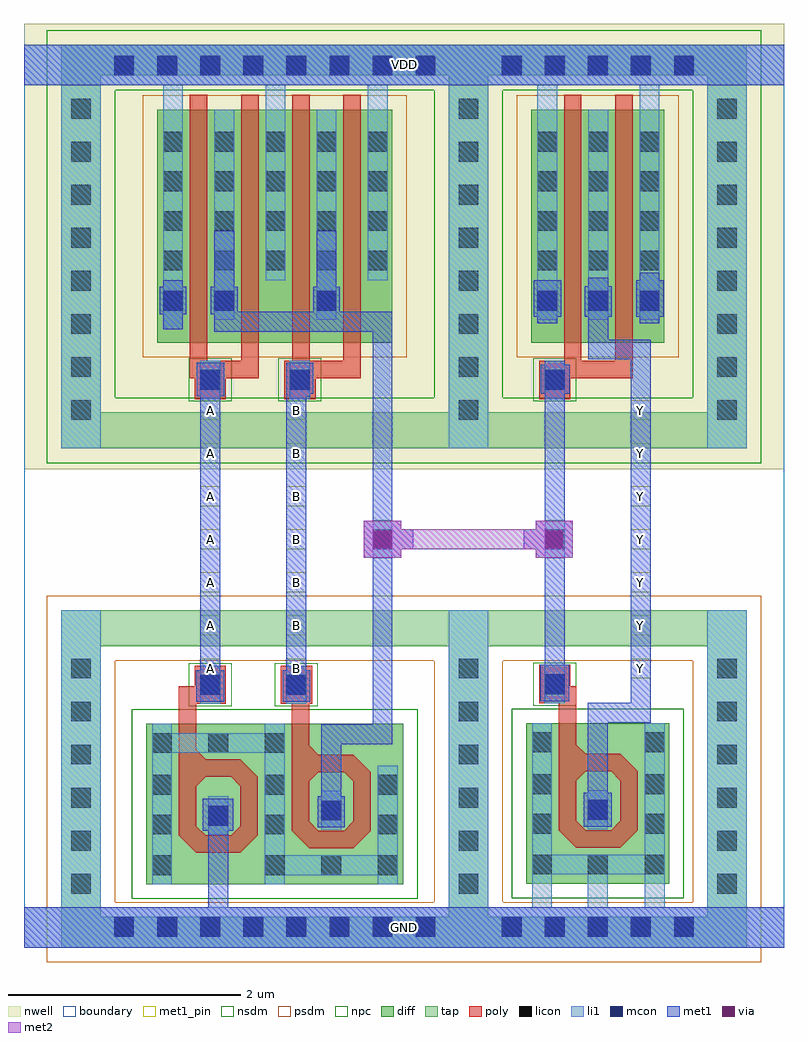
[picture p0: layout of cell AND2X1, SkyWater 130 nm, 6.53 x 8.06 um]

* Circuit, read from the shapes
.subckt AND2X1 A B GND VDD Y
XM1 n1 A GND GND sky130_fd_pr__nfet_01v8 w=2.6 l=0.1468
XM2 n1 B n2 GND sky130_fd_pr__nfet_01v8 w=2.56 l=0.1475
XM3 GND n2 Y GND sky130_fd_pr__nfet_01v8 w=2.56 l=0.1491
XM4 n2 A VDD VDD sky130_fd_pr__pfet_01v8 w=2 l=0.15 m=2
XM5 n2 B VDD VDD sky130_fd_pr__pfet_01v8 w=2 l=0.15 m=2
XM6 Y n2 VDD VDD sky130_fd_pr__pfet_01v8 w=2 l=0.15 m=2
.ends

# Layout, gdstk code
from math import pi, radians
import gdstk
lib = gdstk.Library(unit=1e-6, precision=1e-09)
def R(c, l, rs):  # rectangles x0, y0, x1, y1
    for r in rs: c.add(gdstk.rectangle(r[:2], r[2:], *l))
def A(c, l, x, y, w, h, nx, ny, dx, dy):  # array of equal rectangles
    R(c, l, [(x+i*dx, y+j*dy, x+i*dx+w, y+j*dy+h) for i in range(nx) for j in range(ny)])
def P(c, l, *ps):  # polygons
    for p in ps: c.add(gdstk.Polygon(p, *l))
nwell = (64, 20)
diff = (65, 20)
tap = (65, 44)
poly = (66, 20)
licon = (66, 44)
li1 = (67, 20)
mcon = (67, 44)
met1_pin = (68, 16)
met1 = (68, 20)
via = (68, 44)
met2 = (69, 20)
nsdm = (93, 44)
psdm = (94, 20)
npc = (95, 20)
boundary = (235, 4)

diff_ring_side = lib.new_cell('diff_ring_side')
R(diff_ring_side, nwell, [(-0.435,3.93,0.435,7.75)])
R(diff_ring_side, tap, [(-0.17,-0.17,0.17,2.72), (-0.17,4.11,0.17,7.57)])
A(diff_ring_side, licon, -0.085, 0.285, 0.17, 0.17, 1, 6, 0, 0.37)
A(diff_ring_side, licon, -0.085, 4.355, 0.17, 0.17, 1, 8, 0, 0.37)
R(diff_ring_side, li1, [(-0.17,-0.17,0.17,2.72), (-0.17,4.11,0.17,7.57)])
R(diff_ring_side, met1, [(-0.17,-0.17,0.17,0.17), (-0.17,7.23,0.17,7.57)])
R(diff_ring_side, nsdm, [(-0.295,3.985,0.295,7.695)])
R(diff_ring_side, psdm, [(-0.295,-0.295,0.295,2.845)])

nmos_bottom = lib.new_cell('nmos_bottom')
R(nmos_bottom, diff, [(0,0,1.24,1.38)])
R(nmos_bottom, poly, [(0.43,0.27,0.81,0.42), (0.28,0.42,0.43,0.925), (0.81,0.42,0.96,0.925), (0.43,0.925,0.96,1.075), (0.81,1.075,0.96,1.51)])
P(nmos_bottom, poly, [(0.73,1.075),(0.81,1.075),(0.81,1.155)],
  [(0.28,0.925),(0.43,0.925),(0.43,1.075)],
  [(0.43,0.845),(0.43,0.925),(0.51,0.925)],
  [(0.73,0.925),(0.81,0.925),(0.81,0.845)],
  [(0.43,0.5),(0.43,0.42),(0.51,0.42)],
  [(0.73,0.42),(0.81,0.42),(0.81,0.5)],
  [(0.28,0.42),(0.43,0.42),(0.43,0.27)],
  [(0.81,0.27),(0.81,0.42),(0.96,0.42)])
A(nmos_bottom, licon, 0.05, 1.13, 0.17, 0.17, 3, 1, 0.485, 0)
R(nmos_bottom, licon, [(0.05,0.08,0.22,0.25), (1.02,0.08,1.19,0.25), (0.05,0.43,0.22,0.6), (1.02,0.43,1.19,0.6), (0.535,0.505,0.705,0.675), (0.05,0.77,0.22,0.94), (1.02,0.77,1.19,0.94)])
R(nmos_bottom, li1, [(0.05,0,0.22,1.13), (1.02,0,1.19,1.13), (0.535,0.425,0.705,0.755), (0.05,1.13,1.19,1.3), (0.05,1.3,0.22,1.38), (1.02,1.3,1.19,1.38)])
R(nmos_bottom, nsdm, [(-0.125,-0.125,1.365,1.505)])

pmos2 = lib.new_cell('pmos2')
R(pmos2, nwell, [(0.26,-2.18,1.76,0.18)])
R(pmos2, diff, [(0.44,-2,1.58,0)])
R(pmos2, poly, [(0.72,-2.305,1.31,-2.155), (0.72,-2.155,0.87,0.13), (1.16,-2.155,1.31,0.13)])
A(pmos2, licon, 0.49, -1.38, 0.17, 0.17, 3, 4, 0.44, 0.34)
R(pmos2, li1, [(0.49,-1.465,0.66,0.21), (0.93,-1.465,1.1,0), (1.37,-1.465,1.54,0.21)])
R(pmos2, psdm, [(0.315,-2.125,1.705,0.125)])

poly_li1_contact = lib.new_cell('poly_li1_contact')
R(poly_li1_contact, poly, [(-0.16,-0.14,0.17,0.13)])
R(poly_li1_contact, licon, [(-0.08,-0.09,0.09,0.08)])
R(poly_li1_contact, li1, [(-0.16,-0.09,0.17,0.08)])
R(poly_li1_contact, npc, [(-0.18,-0.19,0.19,0.18)])

nmos_top_trim1 = lib.new_cell('nmos_top_trim1')
R(nmos_top_trim1, diff, [(0,0,1.24,1.38)])
R(nmos_top_trim1, poly, [(0.43,0.31,0.81,0.46), (0.28,0.46,0.43,0.965), (0.81,0.46,0.96,0.965), (0.43,0.965,0.96,1.115), (0.81,1.115,0.96,1.545)])
P(nmos_top_trim1, poly, [(0.73,1.115),(0.81,1.115),(0.81,1.195)],
  [(0.28,0.965),(0.43,0.965),(0.43,1.115)],
  [(0.43,0.885),(0.43,0.965),(0.51,0.965)],
  [(0.73,0.965),(0.81,0.965),(0.81,0.885)],
  [(0.43,0.54),(0.43,0.46),(0.51,0.46)],
  [(0.73,0.46),(0.81,0.46),(0.81,0.54)],
  [(0.28,0.46),(0.43,0.46),(0.43,0.31)],
  [(0.81,0.31),(0.81,0.46),(0.96,0.46)])
A(nmos_top_trim1, licon, 0.05, 0.08, 0.17, 0.17, 3, 1, 0.485, 0)
R(nmos_top_trim1, licon, [(0.05,0.43,0.22,0.6), (1.02,0.43,1.19,0.6), (0.535,0.55,0.705,0.72), (0.05,0.77,0.22,0.94), (1.02,0.77,1.19,0.94), (1.02,1.13,1.19,1.3)])
R(nmos_top_trim1, li1, [(0.05,0,0.22,0.08), (1.02,0,1.19,0.08), (0.05,0.08,1.19,0.25), (0.05,0.25,0.22,1.02), (1.02,0.25,1.19,1.38), (0.535,0.47,0.705,0.805)])
R(nmos_top_trim1, nsdm, [(-0.125,-0.125,1.365,1.505)])

nand2x1_pcell = lib.new_cell('nand2x1_pcell')
R(nand2x1_pcell, nwell, [(0.435,3.93,2.895,7.75)])
R(nand2x1_pcell, diff, [(1.115,5.265,1.345,5.5), (1.995,5.265,2.225,5.5), (0.705,5.295,0.875,5.465)])
R(nand2x1_pcell, tap, [(0.17,-0.17,3.16,-0.15), (0.155,-0.15,3.175,0.085), (0.155,2.4,0.17,2.41), (3.16,2.4,3.175,2.41), (0.155,2.41,3.175,2.71), (0.17,2.71,3.16,2.72), (0.17,4.11,3.16,4.42), (0.17,7.315,3.16,7.57)])
R(nand2x1_pcell, poly, [(0.84,1.875,0.99,2.065), (1.81,1.91,1.96,1.915)])
A(nand2x1_pcell, licon, 0.285, -0.085, 0.17, 0.17, 8, 2, 0.37, 7.4)
R(nand2x1_pcell, licon, [(0.705,5.295,0.875,5.465), (1.145,5.295,1.315,5.465), (2.025,5.295,2.195,5.465)])
R(nand2x1_pcell, li1, [(0.165,-0.17,3.295,0.17), (1.095,0.87,1.265,1.04), (2.065,0.915,2.235,1.085), (1.025,1.995,1.195,2.165), (1.765,1.995,1.935,2.165), (1.025,4.615,1.195,4.785), (1.795,4.615,1.965,4.785), (0.705,5.215,0.875,5.61), (1.145,5.215,1.315,5.61), (2.025,5.215,2.195,5.61), (-0.17,7.23,3.17,7.57)])
A(nand2x1_pcell, mcon, 0.285, -0.085, 0.17, 0.17, 8, 2, 0.37, 7.4)
R(nand2x1_pcell, mcon, [(1.095,0.87,1.265,1.04), (2.065,0.915,2.235,1.085), (1.025,1.995,1.195,2.165), (1.765,1.995,1.935,2.165), (1.025,4.615,1.195,4.785), (1.795,4.615,1.965,4.785), (0.705,5.295,0.875,5.465), (1.145,5.295,1.315,5.465), (2.025,5.295,2.195,5.465)])
R(nand2x1_pcell, met1, [(-0.17,-0.17,3.5,0.17), (1.095,0.17,1.265,0.825), (1.045,0.825,1.31,1.1), (2.035,0.855,2.265,1.12), (2.065,1.12,2.235,1.57), (2.065,1.57,2.675,1.74), (2.505,1.74,2.675,5.115), (0.99,1.935,1.23,2.205), (1.735,1.935,1.97,2.205), (1.025,2.205,1.195,4.56), (1.765,2.205,1.935,4.555), (1.765,4.555,1.97,4.58), (0.995,4.56,1.23,4.845), (1.765,4.58,1.995,4.845), (1.145,5.115,2.675,5.265), (0.705,5.135,0.875,5.265), (0.675,5.265,0.905,5.5), (1.115,5.265,2.675,5.285), (1.115,5.285,1.345,5.5), (1.995,5.285,2.225,5.5), (0.705,5.5,0.875,5.555), (1.145,5.5,1.315,5.98), (2.025,5.5,2.195,5.98), (-0.17,7.23,3.5,7.57)])
R(nand2x1_pcell, nsdm, [(0.045,3.985,3.285,4.545), (0.045,7.19,3.285,7.695)])
R(nand2x1_pcell, psdm, [(0.045,-0.295,3.285,-0.275), (0.03,-0.275,3.3,0.21), (0.03,2.275,0.295,2.285), (3.035,2.275,3.3,2.285), (0.03,2.285,3.3,2.835), (0.045,2.835,3.285,2.845), (0.99,5.14,1.47,5.17), (1.87,5.14,2.35,5.625), (0.58,5.17,1.47,5.59), (0.99,5.59,1.47,5.625)])
nand2x1_pcell.add(gdstk.Reference(diff_ring_side, (0,0)))
nand2x1_pcell.add(gdstk.Reference(nmos_bottom, (1.8,0.365), rotation=pi, x_reflection=True))
nand2x1_pcell.add(gdstk.Reference(pmos2, (0.215,7.02)))
nand2x1_pcell.add(gdstk.Reference(poly_li1_contact, (1.115,4.705), rotation=3*pi/2))
nand2x1_pcell.add(gdstk.Reference(poly_li1_contact, (1.115,2.085), rotation=3*pi/2))
nand2x1_pcell.add(gdstk.Reference(nmos_top_trim1, (2.77,0.365), rotation=pi, x_reflection=True))
nand2x1_pcell.add(gdstk.Reference(pmos2, (1.095,7.02)))
nand2x1_pcell.add(gdstk.Reference(poly_li1_contact, (1.845,2.075), rotation=pi/2))
nand2x1_pcell.add(gdstk.Reference(poly_li1_contact, (1.885,4.705), rotation=3*pi/2))
nand2x1_pcell.add(gdstk.Reference(diff_ring_side, (3.33,0)))

li1_m1_contact = lib.new_cell('li1_M1_contact')
R(li1_m1_contact, li1, [(-0.085,-0.165,0.085,0.165)])
R(li1_m1_contact, mcon, [(-0.085,-0.085,0.085,0.085)])
R(li1_m1_contact, met1, [(-0.115,-0.115,0.115,-0.085), (-0.265,-0.085,0.145,0.085), (-0.115,0.085,0.115,0.115)])

nmos_top = lib.new_cell('nmos_top')
R(nmos_top, diff, [(0,0,1.23,1.38)])
R(nmos_top, poly, [(0.42,0.31,0.8,0.46), (0.27,0.46,0.42,0.965), (0.8,0.46,0.95,0.965), (0.42,0.965,0.95,1.115), (0.8,1.115,0.95,1.54)])
P(nmos_top, poly, [(0.72,1.115),(0.8,1.115),(0.8,1.195)],
  [(0.27,0.965),(0.42,0.965),(0.42,1.115)],
  [(0.42,0.885),(0.42,0.965),(0.5,0.965)],
  [(0.72,0.965),(0.8,0.965),(0.8,0.885)],
  [(0.42,0.54),(0.42,0.46),(0.5,0.46)],
  [(0.72,0.46),(0.8,0.46),(0.8,0.54)],
  [(0.27,0.46),(0.42,0.46),(0.42,0.31)],
  [(0.8,0.31),(0.8,0.46),(0.95,0.46)])
R(nmos_top, licon, [(0.04,0.08,0.21,0.25), (0.53,0.08,0.7,0.25), (1.01,0.08,1.18,0.25), (0.04,0.43,0.21,0.6), (1.01,0.43,1.18,0.6), (0.53,0.55,0.7,0.72), (0.04,0.77,0.21,0.94), (1.01,0.77,1.18,0.94), (0.04,1.13,0.21,1.3), (1.01,1.13,1.18,1.3)])
R(nmos_top, li1, [(0.04,0,0.21,0.08), (1.01,0,1.18,0.08), (0.04,0.08,1.18,0.25), (0.04,0.25,0.21,1.38), (1.01,0.25,1.18,1.38), (0.53,0.47,0.7,0.805)])
R(nmos_top, nsdm, [(-0.125,-0.125,1.355,1.505)])

invx1_pcell = lib.new_cell('invx1_pcell')
R(invx1_pcell, nwell, [(-0.435,3.93,2.655,7.75)])
A(invx1_pcell, diff, 0.59, 5.295, 0.17, 0.17, 3, 1, 0.44, 0)
R(invx1_pcell, tap, [(0.17,-0.17,2.05,0.085), (0.17,2.41,2.05,2.72), (0.17,4.11,2.05,4.42), (0.17,7.315,2.05,7.57)])
R(invx1_pcell, poly, [(0.775,1.905,0.925,2.065)])
A(invx1_pcell, licon, 0.285, -0.085, 0.17, 0.17, 5, 2, 0.37, 7.4)
A(invx1_pcell, licon, 0.59, 5.295, 0.17, 0.17, 3, 1, 0.44, 0)
A(invx1_pcell, li1, 0.59, 5.215, 0.17, 0.37, 3, 1, 0.44, 0)
R(invx1_pcell, li1, [(-0.17,-0.17,2.33,0.17), (0.545,0.17,0.715,0.42), (1.025,0.17,1.195,0.45), (1.515,0.17,1.685,0.45), (1.025,0.92,1.195,1.09), (0.655,2,0.825,2.17), (0.655,4.615,0.825,4.785), (-0.17,7.23,2.39,7.57)])
A(invx1_pcell, mcon, 0.285, -0.085, 0.17, 0.17, 5, 2, 0.37, 7.4)
A(invx1_pcell, mcon, 0.59, 5.295, 0.17, 0.17, 3, 1, 0.44, 0)
R(invx1_pcell, mcon, [(1.025,0.92,1.195,1.09), (0.655,2,0.825,2.17), (0.655,4.615,0.825,4.785)])
R(invx1_pcell, met1, [(-0.17,-0.17,2.39,0.17), (0.99,0.86,1.23,1.15), (1.025,1.15,1.195,1.755), (1.025,1.755,1.565,1.925), (1.395,1.925,1.565,4.875), (0.615,1.94,0.865,2.25), (0.655,2.25,0.825,4.58), (0.62,4.58,0.87,4.83), (0.655,4.83,0.825,4.865), (1.03,4.875,1.565,5.045), (1.03,5.045,1.2,5.24), (0.59,5.185,0.76,5.24), (1.47,5.185,1.64,5.24), (0.56,5.24,0.795,5.555), (1,5.24,1.23,5.505), (1.44,5.24,1.675,5.555), (1.03,5.505,1.2,5.575), (1.47,5.555,1.64,5.62), (-0.17,7.23,2.39,7.57)])
R(invx1_pcell, nsdm, [(0.045,3.985,2.175,4.545), (0.045,7.19,2.175,7.695)])
R(invx1_pcell, psdm, [(0.045,-0.295,2.175,0.21), (0.045,2.285,2.175,2.845), (0.465,5.17,1.765,5.59)])
invx1_pcell.add(gdstk.Reference(poly_li1_contact, (0.735,2.08), rotation=pi/2))
invx1_pcell.add(gdstk.Reference(poly_li1_contact, (0.745,4.705), rotation=3*pi/2))
invx1_pcell.add(gdstk.Reference(pmos2, (0.1,7.02)))
invx1_pcell.add(gdstk.Reference(nmos_top, (1.725,0.37), rotation=pi, x_reflection=True))
invx1_pcell.add(gdstk.Reference(diff_ring_side, (0,0)))
invx1_pcell.add(gdstk.Reference(diff_ring_side, (2.22,0)))

and2x1_pcell = lib.new_cell('and2x1_pcell')
R(and2x1_pcell, met1, [(2.43,3.17,2.75,3.49), (3.905,3.17,4.225,3.49)])
R(and2x1_pcell, via, [(2.515,3.255,2.665,3.405), (3.99,3.255,4.14,3.405)])
R(and2x1_pcell, met2, [(2.43,3.17,2.75,3.245), (3.905,3.17,4.225,3.245), (2.43,3.245,4.225,3.415), (2.43,3.415,2.75,3.49), (3.905,3.415,4.225,3.49)])
and2x1_pcell.add(gdstk.Reference(nand2x1_pcell, (0,0)))
and2x1_pcell.add(gdstk.Reference(li1_m1_contact, (4.07,3.33)))
and2x1_pcell.add(gdstk.Reference(li1_m1_contact, (2.59,3.33), rotation=pi))
and2x1_pcell.add(gdstk.Reference(invx1_pcell, (3.33,0)))

and2x1 = lib.new_cell('AND2X1')
R(and2x1, nwell, [(0,4.11,0.06,7.93), (6.46,4.11,6.53,7.41), (1.165,5.445,1.395,5.675), (6.21,7.41,6.53,7.76), (0.775,7.495,0.945,7.665), (6.46,7.76,6.53,7.92), (6.47,7.92,6.53,7.93), (0,7.93,6.53,7.94)])
R(and2x1, diff, [(1.165,5.445,1.395,5.675)])
R(and2x1, tap, [(0.32,0,6.21,0.01), (0.32,7.75,6.21,7.76)])
R(and2x1, li1, [(0,0,6.53,0.35), (1.195,5.315,1.365,6.16), (0,7.41,6.53,7.76)])
R(and2x1, mcon, [(1.195,5.475,1.365,5.645)])
A(and2x1, met1_pin, 1.515, 2.315, 0.17, 0.17, 1, 7, 0, 0.37)
A(and2x1, met1_pin, 2.255, 2.315, 0.17, 0.17, 1, 7, 0, 0.37)
A(and2x1, met1_pin, 5.215, 2.315, 0.17, 0.17, 1, 7, 0, 0.37)
R(and2x1, met1_pin, [(0,0,6.53,0.35), (0,7.41,6.53,7.76)])
A(and2x1, met1, 1.515, 2.315, 0.17, 0.17, 1, 7, 0, 0.37)
A(and2x1, met1, 2.255, 2.315, 0.17, 0.17, 1, 7, 0, 0.37)
A(and2x1, met1, 5.215, 2.315, 0.17, 0.17, 1, 7, 0, 0.37)
R(and2x1, met1, [(0,0,6.53,0.01), (0,0.01,0.32,0.32), (0.39,0.01,6.53,0.32), (0,0.32,6.53,0.35), (1.165,5.445,1.395,5.675), (0,7.41,6.53,7.76)])
R(and2x1, nsdm, [(0.195,7.625,6.335,7.885)])
R(and2x1, psdm, [(0.195,-0.125,6.335,0.135), (1.04,5.32,1.52,5.8)])
R(and2x1, boundary, [(0,0,6.53,7.76)])
and2x1.add(gdstk.Reference(and2x1_pcell, (0.49,0.18)))
and2x1.add(gdstk.Label('Y', (5.3,4.62), layer=68, texttype=5))
and2x1.add(gdstk.Label('Y', (5.3,4.25), layer=68, texttype=5))
and2x1.add(gdstk.Label('Y', (5.3,3.88), layer=68, texttype=5))
and2x1.add(gdstk.Label('Y', (5.3,3.51), layer=68, texttype=5))
and2x1.add(gdstk.Label('Y', (5.3,2.4), layer=68, texttype=5))
and2x1.add(gdstk.Label('Y', (5.3,2.77), layer=68, texttype=5))
and2x1.add(gdstk.Label('Y', (5.3,3.14), layer=68, texttype=5))
and2x1.add(gdstk.Label('A', (1.6,4.62), layer=68, texttype=5))
and2x1.add(gdstk.Label('A', (1.6,4.25), layer=68, texttype=5))
and2x1.add(gdstk.Label('A', (1.6,3.88), layer=68, texttype=5))
and2x1.add(gdstk.Label('A', (1.6,3.51), layer=68, texttype=5))
and2x1.add(gdstk.Label('A', (1.6,3.14), layer=68, texttype=5))
and2x1.add(gdstk.Label('A', (1.6,2.77), layer=68, texttype=5))
and2x1.add(gdstk.Label('A', (1.6,2.4), layer=68, texttype=5))
and2x1.add(gdstk.Label('B', (2.34,2.4), layer=68, texttype=5))
and2x1.add(gdstk.Label('B', (2.34,2.77), layer=68, texttype=5))
and2x1.add(gdstk.Label('B', (2.34,3.14), layer=68, texttype=5))
and2x1.add(gdstk.Label('B', (2.34,3.51), layer=68, texttype=5))
and2x1.add(gdstk.Label('B', (2.34,3.88), layer=68, texttype=5))
and2x1.add(gdstk.Label('B', (2.34,4.25), layer=68, texttype=5))
and2x1.add(gdstk.Label('B', (2.34,4.62), layer=68, texttype=5))
and2x1.add(gdstk.Label('VDD', (3.265,7.585), layer=68, texttype=5))
and2x1.add(gdstk.Label('GND', (3.265,0.175), layer=68, texttype=5))

lib.write_gds('AND2X1.gds')
